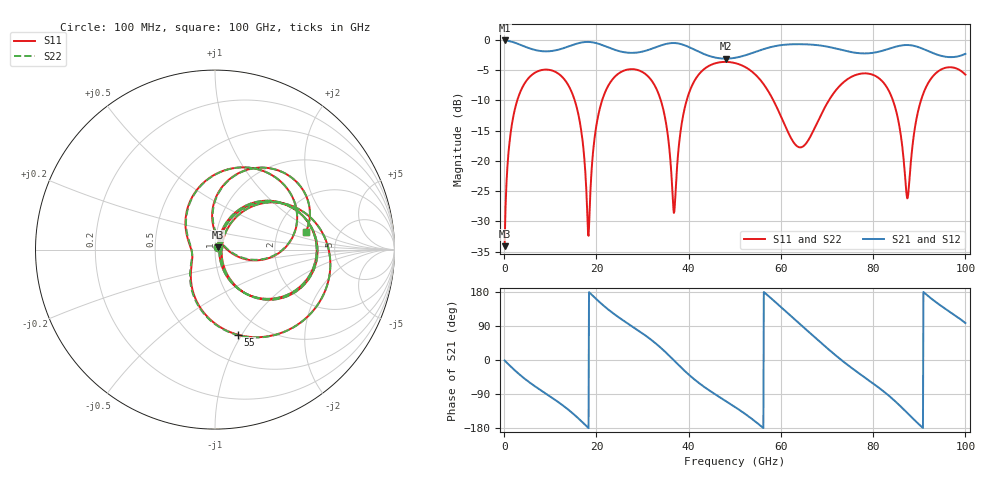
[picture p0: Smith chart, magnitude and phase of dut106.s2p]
! Touchstone file exported from HFSS 2026.1.0
!  File:  C:/ffzhzh/LocalFiles/Ansys_Project_Files/temp_train_TSV_RDL_106_1783456502_41684.aedt
!  Generated:  04:46:28 AM Jul  8, 2026
!  Design:  TSV_RDL
!  Project:  temp_train_TSV_RDL_106_1783456502_41684
! Variables:
!  h_bsmrdl = 4.39um
!  h_ox = 20um
!  h_rdl = 5um
!  h_sub = 78.16um
!  h_tmrdl = 3.67um
!  h_tsv = 78.16um
!  h_via = 3um
!  l_bsmrdl = 608.83um
!  l_sub = 3282.2um
!  l_tmrdl = 235.57um
!  m_sub = 200um
!  pitch = 49.67um
!  r_tsv = 8.16um
!  s_tmrdl = 10um
!  w_bsmrdl = 16.28um
!  w_sub = 500um
!  w_tmrdl = 21.53um
!  x_tsv_center1 = 246.335um
!  x_tsv_center2 = 871.445um
!  x_tsv_center3 = 1128.545um
!  x_tsv_center4 = 1753.655um
!  x_tsv_center5 = 2010.755um
!  x_tsv_center6 = 2635.865um
# GHz S MA R 50.000000
! Terminal data exported
! Port[1] = TM_RDL1_1_T1
! Port[2] = TM_RDL5_1_T1
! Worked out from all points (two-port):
!   1000 points, 100 MHz to 100 GHz, reference 50 ohm
!   highest |S21| = -0.13 dB at 100 MHz (marker M1); lowest = -3.1 dB at 48 GHz (marker M2)
!   |S21| within 3 dB of the highest: start of sweep to end of sweep
!   lowest |S11| = -34.1 dB at 100 MHz (marker M3), VSWR 1.04, Z = 51.5 + j1.32 ohm
!   |S11| at or under -10 dB: 15.29 GHz to 21.25 GHz (5.954 GHz wide, 32.6 % of centre); 58.36 GHz to 70.41 GHz (12.06 GHz wide, 18.7 % of centre); 84.28 GHz to 90.38 GHz (6.093 GHz wide, 6.98 % of centre) (the widest 3 of 5)
!   |S22| runs from -34.1 to -3.7 dB; largest |S21 - S12| = 1.2e-12
!   S11 on the Smith chart (normalised r, x): 100 MHz: 1.03, +0.03; 55 GHz: 0.77, -0.96; 100 GHz: 2.89, +0.77
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0.1  0.01978 40.2  0.9851 -1.3  0.9851 -1.3  0.01978 40.2
! Gamma 0 0 0 0
! Port Impedance 50 0 50 0
1.7  0.2023 64.3  0.9604 -20.3  0.9604 -20.3  0.2023 64.3
5.2  0.4775 31.0  0.8558 -56.4  0.8558 -56.4  0.4775 31.0
12.6  0.4922 -28.9  0.8442 -118.7  0.8442 -118.7  0.4921 -28.9
16.8  0.1683 -65.9  0.9482 -162.1  0.9482 -162.1  0.1683 -65.8
18.3  0.02409 8.7  0.9579 -179.7  0.9579 -179.7  0.0242 8.8
20  0.1965 62.6  0.9357 160.5  0.9357 160.5  0.1966 62.5
22.8  0.4316 37.7  0.8568 131.0  0.8568 131.0  0.4316 37.7
28  0.5705 -4.1  0.7786 86.6  0.7786 86.6  0.5705 -4.1
33.4  0.3636 -48.4  0.8803 38.2  0.8803 38.2  0.3636 -48.6
36.8  0.0372 -6.5  0.9382 -0.9  0.9382 -0.9  0.03604 -6.6
40.3  0.3825 42.9  0.8608 -41.5  0.8608 -41.5  0.3825 43.1
48  0.6557 -18.4  0.6974 -107.9  0.6974 -107.9  0.6558 -18.5
50.1  0.6405 -34.0  0.7091 -124.4  0.7091 -124.4  0.6406 -34.2
55  0.4911 -74.9  0.8054 -167.6  0.8054 -167.6  0.4911 -75.4
59.8  0.2427 -122.3  0.8989 142.0  0.8989 142.0  0.2424 -123.7
66.7  0.1671 156.8  0.9098 67.0  0.9098 67.0  0.1675 154.7
73.4  0.4392 84.6  0.8186 -2.8  0.8186 -2.8  0.4395 84.3
83.4  0.3787 -0.2  0.8405 -94.1  0.8405 -94.1  0.379 0.3
87.4  0.04906 35.6  0.9035 -139.6  0.9035 -139.6  0.05262 36.0
91.6  0.4155 76.6  0.8153 172.1  0.8153 172.1  0.4159 76.3
100  0.5145 10.9  0.764 97.6  0.764 97.6  0.5147 11.0
